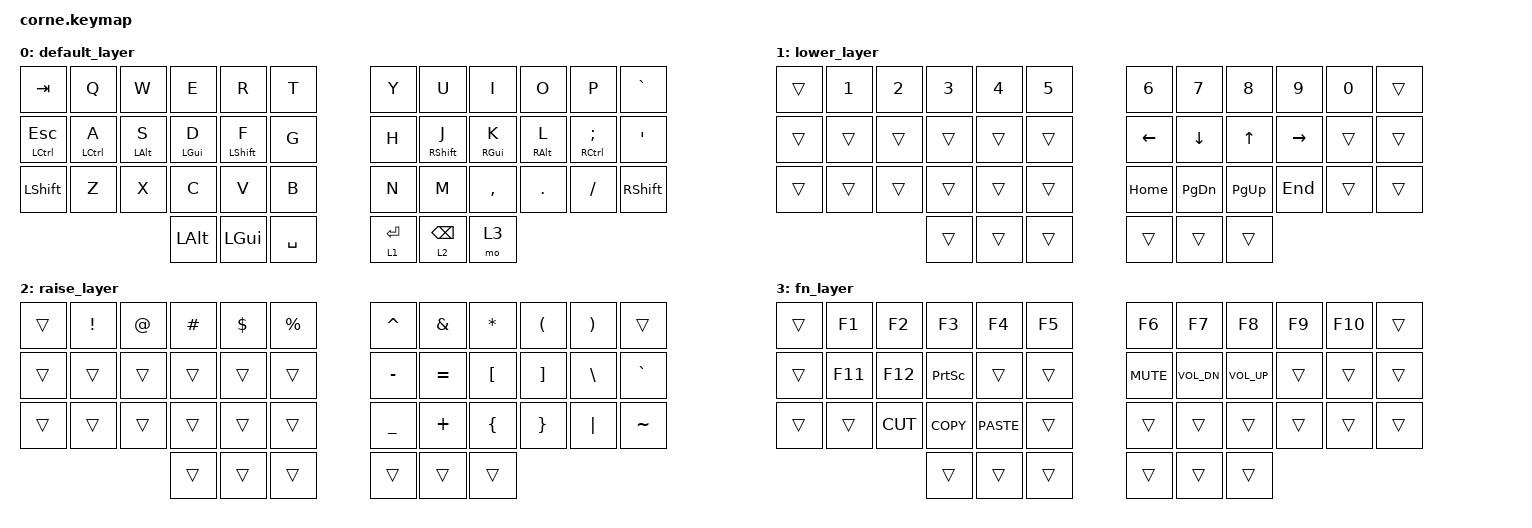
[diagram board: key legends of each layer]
/*
 * Copyright (c) 2020 The ZMK Contributors
 *
 * SPDX-License-Identifier: MIT
 */

#include <behaviors.dtsi>
#include <dt-bindings/zmk/keys.h>
#include <dt-bindings/zmk/bt.h>


/ {
    behaviors {
        mt: mod_tap {
            compatible = "zmk,behavior-hold-tap";
            #binding-cells = <2>;
            flavor = "tap-preferred";
            tapping-term-ms = <300>;
            bindings = <&kp>, <&kp>;

            display-name = "Mod-Tap";
        };
    };

    keymap {
        compatible = "zmk,keymap";

        default_layer {
            // -----------------------------------------------------------------------------------------
            // |  TAB |  Q  |  W  |  E  |  R  |  T  |   |  Y  |  U   |  I  |  O  |  P  | BSPC |
            // | CTRL |  A  |  S  |  D  |  F  |  G  |   |  H  |  J   |  K  |  L  |  ;  |  '   |
            // | SHFT |  Z  |  X  |  C  |  V  |  B  |   |  N  |  M   |  ,  |  .  |  /  | ESC  |
            //                    | GUI | LWR | SPC |   | ENT | RSE  | ALT |

            bindings = <
&kp TAB        &kp Q        &kp W       &kp E         &kp R         &kp T        &kp Y      &kp U        &kp I       &kp O       &kp P           &kp GRAVE
&mt LCTRL ESC  &mt LCTRL A  &mt LALT S  &mt LGUI D    &mt LSHFT F   &kp G        &kp H      &mt RSHFT J  &mt RGUI K  &mt RALT L  &mt RCTRL SEMI  &kp SQT
&kp LSHFT      &kp Z        &kp X       &kp C         &kp V         &kp B        &kp N      &kp M        &kp COMMA   &kp DOT     &kp FSLH        &kp RSHFT
                                        &kp LEFT_ALT  &kp LEFT_GUI  &kp SPACE    &lt 1 RET  &lt 2 BSPC   &mo 3
            >;
        };

        lower_layer {
            // -----------------------------------------------------------------------------------------
            // |      |  1  |  2  |  3  |  4  |  5  |   |  6  |  7  |  8  |  9  |  0  |      |
            // |      |     |     |     |     |     |   | LFT | DWN |  UP | RGT |     |      |
            // |      |     |     |     |     |     |   |     |     |     |     |     |      |
            //                    |     |     |     |   |     |     |     |

            bindings = <
&trans  &kp N1  &kp N2  &kp N3  &kp N4  &kp N5    &kp N6    &kp N7         &kp N8       &kp N9     &kp N0  &trans
&trans  &trans  &trans  &trans  &trans  &trans    &kp LEFT  &kp DOWN       &kp UP       &kp RIGHT  &trans  &trans
&trans  &trans  &trans  &trans  &trans  &trans    &kp HOME  &kp PAGE_DOWN  &kp PAGE_UP  &kp END    &trans  &trans
                        &trans  &trans  &trans    &trans    &trans         &trans
            >;
        };

        raise_layer {
            // -----------------------------------------------------------------------------------------
            // |      |  !  |  @  |  #  |  $  |  %  |   |  ^  |  &  |  *  |  (  |  )  |      |
            // |      |     |     |     |     |     |   |  -  |  =  |  [  |  ]  |  \  |  `   |
            // |      |     |     |     |     |     |   |  _  |  +  |  {  |  }  | "|" |  ~   |
            //                    |     |     |     |   |     |     |     |

            bindings = <
&trans  &kp EXCL  &kp AT  &kp HASH  &kp DLLR  &kp PRCNT    &kp CARET  &kp AMPS   &kp ASTRK  &kp LPAR  &kp RPAR  &trans
&trans  &trans    &trans  &trans    &trans    &trans       &kp MINUS  &kp EQUAL  &kp LBKT   &kp RBKT  &kp BSLH  &kp GRAVE
&trans  &trans    &trans  &trans    &trans    &trans       &kp UNDER  &kp PLUS   &kp LBRC   &kp RBRC  &kp PIPE  &kp TILDE
                          &trans    &trans    &trans       &trans     &trans     &trans
            >;
        };

        fn_layer {
            bindings = <
&trans  &kp F1   &kp F2     &kp F3           &kp F4       &kp F5    &kp F6      &kp F7        &kp F8           &kp F9  &kp F10  &trans
&trans  &kp F11  &kp F12    &kp PRINTSCREEN  &trans       &trans    &kp K_MUTE  &kp C_VOL_DN  &kp C_VOLUME_UP  &trans  &trans   &trans
&trans  &trans   &kp K_CUT  &kp K_COPY       &kp K_PASTE  &trans    &trans      &trans        &trans           &trans  &trans   &trans
                            &trans           &trans       &trans    &trans      &trans        &trans
            >;
        };
    };
};

